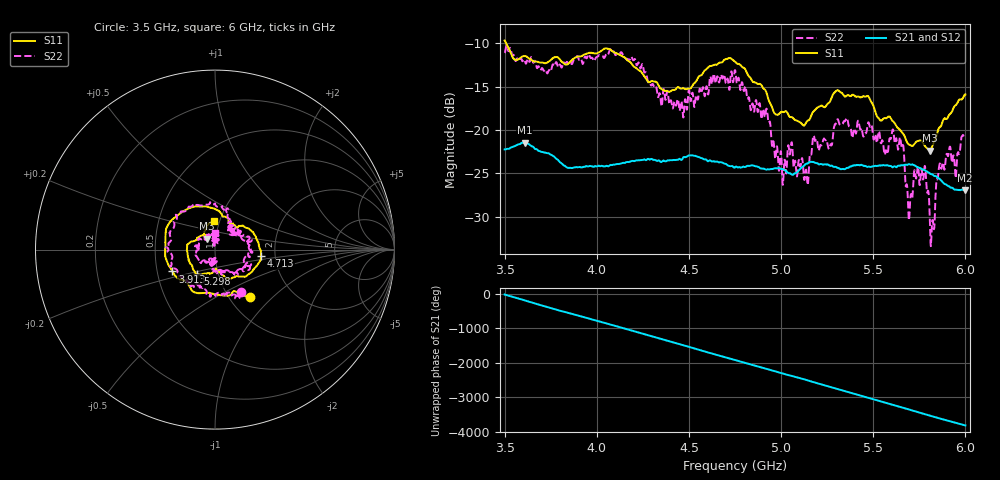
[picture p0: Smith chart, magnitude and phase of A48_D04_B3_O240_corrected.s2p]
! Created with skrf 1.9.0 (http://scikit-rf.org).
# Hz S RI R 50.0
!freq ReS11 ImS11 ReS21 ImS21 ReS12 ImS12 ReS22 ImS22
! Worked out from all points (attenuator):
!   1601 points, 3.5 GHz to 6 GHz, reference 50 ohm
!   highest |S21| = -21.44 dB at 3.609 GHz (marker M1); lowest = -27.0 dB at 5.998 GHz (marker M2)
!   lowest |S11| = -22.4 dB at 5.806 GHz (marker M3), VSWR 1.16, Z = 45.3 + j5.51 ohm
!   |S11| at or under -10 dB: 3.509 GHz to end of sweep
!   |S22| runs from -33.4 to -10.3 dB; largest |S21 - S12| = 0.00098
!   S11 on the Smith chart (normalised r, x): 3.5 GHz: 1.24, -0.74; 3.913 GHz: 0.60, -0.16; 4.713 GHz: 1.68, -0.13; 5.298 GHz: 0.79, -0.22; 6 GHz: 0.94, +0.31
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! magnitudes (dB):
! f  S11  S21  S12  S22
! 3.5 GHz  -9.7  -22.2  -22.2  -11.1
! 3.609 GHz  -11.4  -21.4  -21.4  -12.0
! 3.913 GHz  -11.5  -24.3  -24.2  -11.8
! 3.917 GHz  -11.5  -24.3  -24.3  -11.9
! 4.136 GHz  -11.4  -23.8  -23.8  -11.1
! 4.334 GHz  -14.8  -23.5  -23.5  -16.2
! 4.713 GHz  -11.7  -24.1  -24.1  -14.3
! 4.75 GHz  -12.1  -24.3  -24.2  -13.1
! 5.017 GHz  -17.9  -24.6  -24.5  -23.7
! 5.048 GHz  -18.5  -25.0  -25.0  -22.7
! 5.136 GHz  -19.1  -23.9  -23.8  -24.6
! 5.167 GHz  -18.1  -23.7  -23.6  -22.3
! 5.298 GHz  -15.5  -24.3  -24.2  -19.2
! 5.584 GHz  -18.4  -24.1  -24.1  -21.6
! 5.655 GHz  -20.2  -24.1  -24.0  -22.0
! 5.7 GHz  -21.7  -24.0  -23.9  -28.3
! 5.773 GHz  -21.6  -24.6  -24.5  -25.4
! 5.806 GHz  -22.4  -25.0  -24.9  -29.8
! 5.822 GHz  -21.8  -25.1  -25.1  -30.4
! 5.866 GHz  -19.6  -25.8  -25.7  -24.1
! 5.998 GHz  -15.9  -27.0  -26.9  -20.5
! 6 GHz  -15.9  -27.0  -26.9  -20.5
